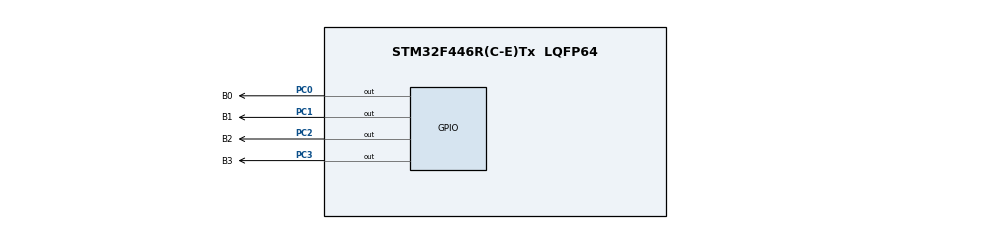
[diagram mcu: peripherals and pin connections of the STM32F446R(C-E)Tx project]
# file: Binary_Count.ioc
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Mcu.Family=STM32F4
Mcu.Name=STM32F446R(C-E)Tx
Mcu.Package=LQFP64
NVIC.PriorityGroup=NVIC_PRIORITYGROUP_4
PC0.GPIO_Label=B0
PC0.Signal=GPIO_Output
PC1.GPIO_Label=B1
PC1.Signal=GPIO_Output
PC2.GPIO_Label=B2
PC2.Signal=GPIO_Output
PC3.GPIO_Label=B3
PC3.Signal=GPIO_Output
ProjectManager.HeapSize=0x200
ProjectManager.StackSize=0x400
ProjectManager.TargetToolchain=STM32CubeIDE
RCC.CortexFreq_Value=16000000
RCC.USBFreq_Value=96000000
RCC.VCOOutputFreq_Value=192000000
board=custom

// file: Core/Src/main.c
/* USER CODE BEGIN Header */
/**
 ******************************************************************************
 * @file           : main.c
 * @brief          : Main program body
 ******************************************************************************
 * @attention
 *
 * Copyright (c) 2024 STMicroelectronics.
 * All rights reserved.
 *
 * This software is licensed under terms that can be found in the LICENSE file
 * in the root directory of this software component.
 * If no LICENSE file comes with this software, it is provided AS-IS.
 *
 ******************************************************************************
 */
/* USER CODE END Header */
#include "main.h"

/* USER CODE BEGIN Includes */
#include "stdio.h"

/* USER CODE END Includes */

void SystemClock_Config(void);
static void MX_GPIO_Init(void);
/* USER CODE BEGIN PFP */

int _write(int file, char *ptr,int len)
{
	for(int i = 0; i < len; ++i)
	{
		ITM_SendChar((*ptr++));
	}
	return len;
}

/* USER CODE END PFP */

/* USER CODE BEGIN 0 */
uint8_t counter = 0;

/* USER CODE END 0 */

int main(void)
{

	/* MCU Configuration--------------------------------------------------------*/

	/* Reset of all peripherals, Initializes the Flash interface and the Systick. */
	HAL_Init();

	/* Configure the system clock */
	SystemClock_Config();

	/* Initialize all configured peripherals */
	MX_GPIO_Init();

	/* Infinite loop */
	while (1)
	{

		/* USER CODE BEGIN 3 */
		// Set PC0 to PC3 to binary counter value
		HAL_GPIO_WritePin(B0_GPIO_Port, B0_Pin, (counter & 0x01) ? GPIO_PIN_SET : GPIO_PIN_RESET);
		HAL_GPIO_WritePin(B1_GPIO_Port, B1_Pin, (counter & 0x02) ? GPIO_PIN_SET : GPIO_PIN_RESET);
		HAL_GPIO_WritePin(B2_GPIO_Port, B2_Pin, (counter & 0x04) ? GPIO_PIN_SET : GPIO_PIN_RESET);
		HAL_GPIO_WritePin(B3_GPIO_Port, B3_Pin, (counter & 0x08) ? GPIO_PIN_SET : GPIO_PIN_RESET);

		// Read the state of each pin (PC0, PC1, PC2, PC3)
		uint8_t pin0 = HAL_GPIO_ReadPin(B0_GPIO_Port, B0_Pin);
		uint8_t pin1 = HAL_GPIO_ReadPin(B1_GPIO_Port, B1_Pin);
		uint8_t pin2 = HAL_GPIO_ReadPin(B2_GPIO_Port, B2_Pin);
		uint8_t pin3 = HAL_GPIO_ReadPin(B3_GPIO_Port, B3_Pin);

		// Print the state of each pin to the SWV Console
		printf("PC0: %d, PC1: %d, PC2: %d, PC3: %d\n", pin0, pin1, pin2, pin3);

		// Increment the counter
		counter = (counter + 1) & 0x0F;
		// Delay to simulate the timing
		HAL_Delay(500); // 500 ms delay, adjust as needed
	}
	/* USER CODE END 3 */
}

void SystemClock_Config(void)
{
	RCC_OscInitTypeDef RCC_OscInitStruct = {0};
	RCC_ClkInitTypeDef RCC_ClkInitStruct = {0};

	/** Configure the main internal regulator output voltage
	 */
	__HAL_RCC_PWR_CLK_ENABLE();
	__HAL_PWR_VOLTAGESCALING_CONFIG(PWR_REGULATOR_VOLTAGE_SCALE3);

	/** Initializes the RCC Oscillators according to the specified parameters
	 * in the RCC_OscInitTypeDef structure.
	 */
	RCC_OscInitStruct.OscillatorType = RCC_OSCILLATORTYPE_HSI;
	RCC_OscInitStruct.HSIState = RCC_HSI_ON;
	RCC_OscInitStruct.HSICalibrationValue = RCC_HSICALIBRATION_DEFAULT;
	RCC_OscInitStruct.PLL.PLLState = RCC_PLL_NONE;
	if (HAL_RCC_OscConfig(&RCC_OscInitStruct) != HAL_OK)
	{
		Error_Handler();
	}

	/** Initializes the CPU, AHB and APB buses clocks
	 */
	RCC_ClkInitStruct.ClockType = RCC_CLOCKTYPE_HCLK|RCC_CLOCKTYPE_SYSCLK
			|RCC_CLOCKTYPE_PCLK1|RCC_CLOCKTYPE_PCLK2;
	RCC_ClkInitStruct.SYSCLKSource = RCC_SYSCLKSOURCE_HSI;
	RCC_ClkInitStruct.AHBCLKDivider = RCC_SYSCLK_DIV1;
	RCC_ClkInitStruct.APB1CLKDivider = RCC_HCLK_DIV1;
	RCC_ClkInitStruct.APB2CLKDivider = RCC_HCLK_DIV1;

	if (HAL_RCC_ClockConfig(&RCC_ClkInitStruct, FLASH_LATENCY_0) != HAL_OK)
	{
		Error_Handler();
	}
}

static void MX_GPIO_Init(void)
{
	GPIO_InitTypeDef GPIO_InitStruct = {0};

	/* GPIO Ports Clock Enable */
	__HAL_RCC_GPIOC_CLK_ENABLE();

	/*Configure GPIO pin Output Level */
	HAL_GPIO_WritePin(GPIOC, B0_Pin|B1_Pin|B2_Pin|B3_Pin, GPIO_PIN_RESET);

	/*Configure GPIO pins : B0_Pin B1_Pin B2_Pin B3_Pin */
	GPIO_InitStruct.Pin = B0_Pin|B1_Pin|B2_Pin|B3_Pin;
	GPIO_InitStruct.Mode = GPIO_MODE_OUTPUT_PP;
	GPIO_InitStruct.Pull = GPIO_NOPULL;
	GPIO_InitStruct.Speed = GPIO_SPEED_FREQ_LOW;
	HAL_GPIO_Init(GPIOC, &GPIO_InitStruct);

}

void Error_Handler(void)
{
	__disable_irq();
	while (1)
	{
	}
}
